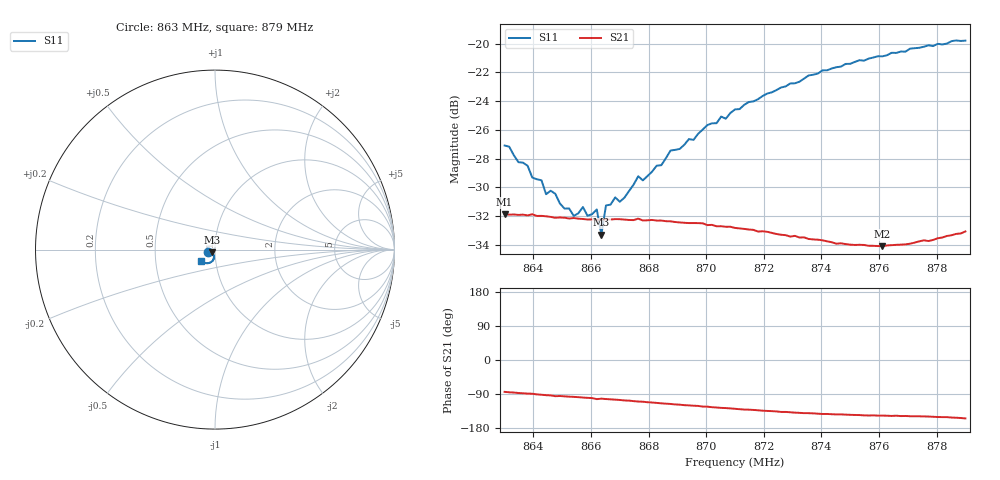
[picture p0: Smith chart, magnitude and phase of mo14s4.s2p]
# HZ S RI R 50
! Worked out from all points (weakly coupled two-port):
!   101 points, 863 MHz to 879 MHz, reference 50 ohm
!   highest |S21| = -31.86 dB at 863 MHz (marker M1); lowest = -34.1 dB at 876.12 MHz (marker M2)
!   lowest |S11| = -33.3 dB at 866.36 MHz (marker M3), VSWR 1.04, Z = 48.5 - j1.5 ohm
!   |S11| at or under -10 dB: start of sweep to end of sweep
!   S12 and S22 are empty: the file has one direction only
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8.63e8  -0.0417 -0.0149  0.00265 -0.0254  0 0  0 0
8.638e8  -0.0349 -0.014  0.000597 -0.0253  0 0  0 0
8.6396e8  -0.0313 -0.0139  0.00042 -0.0255  0 0  0 0
8.6428e8  -0.0293 -0.0163  -0.000731 -0.0252  0 0  0 0
8.6444e8  -0.027 -0.0129  -0.00123 -0.0251  0 0  0 0
8.6476e8  -0.0262 -0.0148  -0.00239 -0.0247  0 0  0 0
8.654e8  -0.0186 -0.017  -0.00314 -0.0246  0 0  0 0
8.6572e8  -0.0174 -0.0207  -0.00388 -0.0243  0 0  0 0
8.6588e8  -0.0148 -0.0204  -0.00419 -0.0241  0 0  0 0
8.662e8  -0.0149 -0.0219  -0.00561 -0.0238  0 0  0 0
8.6636e8  -0.0152 -0.0154  -0.00507 -0.0239  0 0  0 0
8.6652e8  -0.0115 -0.0248  -0.00553 -0.0238  0 0  0 0
8.67e8  -0.00981 -0.0264  -0.00654 -0.0236  0 0  0 0
8.6764e8  -0.00881 -0.0334  -0.00825 -0.0232  0 0  0 0
8.678e8  -0.00713 -0.0327  -0.00835 -0.0228  0 0  0 0
8.6844e8  -0.00595 -0.0373  -0.00999 -0.0221  0 0  0 0
8.6876e8  -0.00598 -0.0421  -0.0106 -0.0217  0 0  0 0
8.71e8  -0.00974 -0.0583  -0.0143 -0.0178  0 0  0 0
8.7372e8  -0.0277 -0.0729  -0.0162 -0.0132  0 0  0 0
8.7612e8  -0.0501 -0.0753  -0.0165 -0.0108  0 0  0 0
8.7644e8  -0.0553 -0.0748  -0.0168 -0.0107  0 0  0 0
8.79e8  -0.0799 -0.0643  -0.02 -0.00968  0 0  0 0
